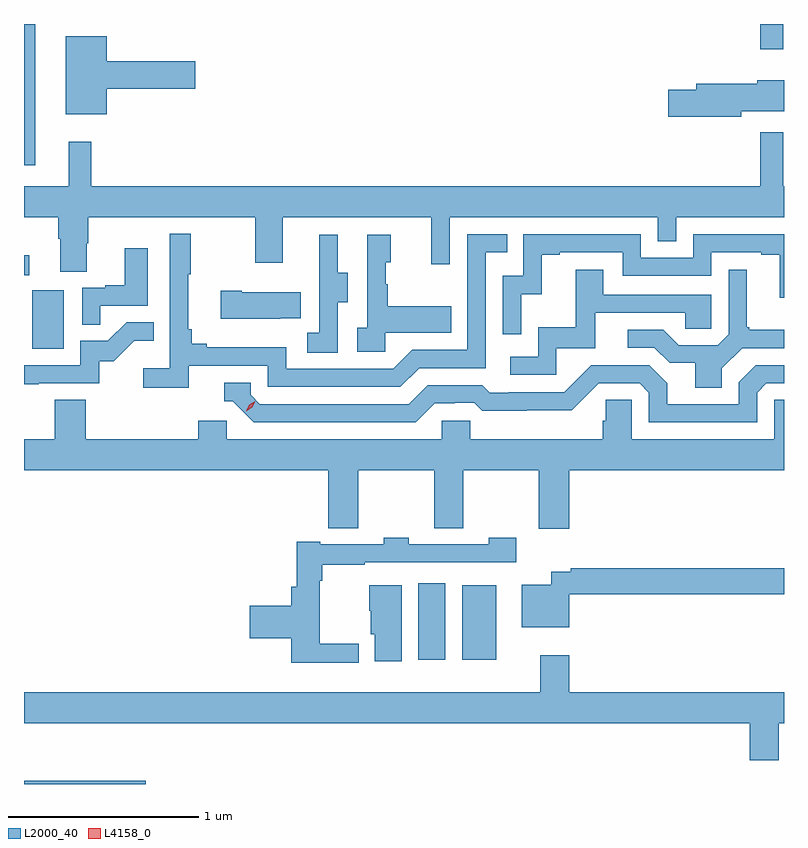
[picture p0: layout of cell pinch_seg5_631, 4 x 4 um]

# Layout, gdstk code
import gdstk
lib = gdstk.Library(unit=1e-6, precision=1e-09)
def R(c, l, rs):  # rectangles x0, y0, x1, y1
    for r in rs: c.add(gdstk.rectangle(r[:2], r[2:], *l))
def P(c, l, *ps):  # polygons
    for p in ps: c.add(gdstk.Polygon(p, *l))
L2000_40 = (2000, 40)
L4158_0 = (4158, 0)

pinch_seg5_631 = lib.new_cell('pinch_seg5_631')
R(pinch_seg5_631, L2000_40, [(1066.596,861.769,1067.236,861.787), (1068.671,862.424,1068.814,862.825), (1068.902,862.424,1069.081,862.816), (1066.64,864.06,1066.804,864.367), (1066.596,864.447,1066.624,864.553), (1066.596,865.026,1066.654,865.769), (1070.472,865.635,1070.593,865.769)])
P(pinch_seg5_631, L2000_40, [(1067.032,865.427),(1067.497,865.427),(1067.497,865.574),(1067.032,865.574),(1067.032,865.705),(1066.817,865.705),(1066.817,865.295),(1067.032,865.295)],
  [(1070.37,865.31),(1070.596,865.31),(1070.596,865.474),(1070.456,865.474),(1070.456,865.454),(1070.135,865.454),(1070.135,865.424),(1069.986,865.424),(1069.986,865.282),(1070.37,865.282)],
  [(1066.927,864.615),(1066.935,864.615),(1066.935,864.752),(1067.812,864.752),(1067.812,864.513),(1067.959,864.513),(1067.959,864.752),(1068.74,864.752),(1068.74,864.504),(1068.837,864.504),(1068.837,864.752),(1069.932,864.752),(1069.932,864.625),(1070.028,864.625),(1070.028,864.752),(1070.596,864.752),(1070.596,864.916),(1070.593,864.916),(1070.593,865.198),(1070.472,865.198),(1070.472,864.916),(1066.949,864.916),(1066.949,865.15),(1066.832,865.15),(1066.832,864.916),(1066.596,864.916),(1066.596,864.752),(1066.775,864.752),(1066.775,864.64),(1066.787,864.64),(1066.787,864.466),(1066.927,864.466)],
  [(1067.462,863.97),(1067.88,863.97),(1067.88,863.859),(1068.577,863.859),(1068.676,863.958),(1069.026,863.958),(1069.026,864.567),(1069.139,864.567),(1069.139,864.663),(1068.93,864.663),(1068.93,864.054),(1068.639,864.054),(1068.54,863.955),(1067.976,863.955),(1067.976,864.067),(1067.557,864.067),(1067.557,864.086),(1067.48,864.086),(1067.48,864.163),(1067.461,864.163),(1067.461,864.451),(1067.473,864.451),(1067.473,864.664),(1067.364,864.664),(1067.364,863.956),(1067.223,863.956),(1067.223,863.854),(1067.462,863.854)],
  [(1069.212,864.347),(1069.322,864.347),(1069.322,864.555),(1069.417,864.555),(1069.417,864.567),(1069.746,864.567),(1069.746,864.444),(1070.214,864.444),(1070.214,864.567),(1070.477,864.567),(1070.477,864.555),(1070.573,864.555),(1070.573,864.329),(1070.596,864.329),(1070.596,864.663),(1070.118,864.663),(1070.118,864.54),(1069.842,864.54),(1069.842,864.663),(1069.224,864.663),(1069.224,864.444),(1069.116,864.444),(1069.116,864.135),(1069.212,864.135)],
  [(1068.246,864.304),(1068.301,864.304),(1068.301,864.459),(1068.247,864.459),(1068.247,864.661),(1068.149,864.661),(1068.149,864.447),(1068.15,864.447),(1068.15,864.143),(1068.087,864.143),(1068.087,864.04),(1068.246,864.04)],
  [(1068.498,864.143),(1068.845,864.143),(1068.845,864.283),(1068.511,864.283),(1068.511,864.398),(1068.501,864.398),(1068.501,864.516),(1068.526,864.516),(1068.526,864.661),(1068.402,864.661),(1068.402,864.17),(1068.351,864.17),(1068.351,864.045),(1068.498,864.045)],
  [(1066.997,864.285),(1067.248,864.285),(1067.248,864.589),(1067.126,864.589),(1067.126,864.394),(1067.023,864.394),(1067.023,864.381),(1066.902,864.381),(1066.902,864.187),(1066.997,864.187)],
  [(1070.269,863.956),(1070.376,864.063),(1070.596,864.063),(1070.596,864.16),(1070.413,864.16),(1070.413,864.172),(1070.401,864.172),(1070.401,864.475),(1070.304,864.475),(1070.304,864.135),(1070.247,864.078),(1070.041,864.078),(1069.96,864.159),(1069.773,864.159),(1069.773,864.066),(1069.914,864.066),(1069.994,863.986),(1070.129,863.986),(1070.129,863.854),(1070.269,863.854)],
  [(1069.398,864.063),(1069.603,864.063),(1069.603,864.249),(1070.077,864.249),(1070.077,864.165),(1070.214,864.165),(1070.214,864.345),(1069.645,864.345),(1069.645,864.475),(1069.501,864.475),(1069.501,864.172),(1069.302,864.172),(1069.302,864.018),(1069.155,864.018),(1069.155,863.922),(1069.398,863.922)],
  [(1067.945,864.221),(1068.053,864.221),(1068.053,864.358),(1067.743,864.358),(1067.743,864.366),(1067.631,864.366),(1067.631,864.218),(1067.945,864.218)],
  [(1066.673,863.877),(1066.992,863.877),(1066.992,863.994),(1067.068,863.994),(1067.175,864.101),(1067.279,864.101),(1067.279,864.2),(1067.136,864.2),(1067.038,864.102),(1066.893,864.102),(1066.893,863.973),(1066.596,863.973),(1066.596,863.872),(1066.673,863.872)],
  [(1068.757,863.772),(1068.864,863.772),(1068.864,863.775),(1068.967,863.775),(1069.009,863.733),(1069.242,863.733),(1069.242,863.735),(1069.478,863.735),(1069.62,863.877),(1069.836,863.877),(1069.884,863.829),(1069.884,863.673),(1070.454,863.673),(1070.454,863.829),(1070.502,863.877),(1070.596,863.877),(1070.596,863.973),(1070.448,863.973),(1070.358,863.883),(1070.358,863.769),(1069.981,863.769),(1069.981,863.879),(1069.887,863.973),(1069.581,863.973),(1069.44,863.832),(1069.147,863.832),(1069.147,863.829),(1069.048,863.829),(1069.009,863.868),(1068.72,863.868),(1068.621,863.769),(1067.838,863.769),(1067.79,863.817),(1067.79,863.88),(1067.651,863.88),(1067.651,863.784),(1067.694,863.784),(1067.805,863.673),(1068.658,863.673)],
  [(1069.466,863.42),(1070.596,863.42),(1070.596,863.792),(1070.544,863.792),(1070.544,863.584),(1069.794,863.584),(1069.794,863.792),(1069.657,863.792),(1069.657,863.682),(1069.643,863.682),(1069.643,863.584),(1068.945,863.584),(1068.945,863.682),(1068.795,863.682),(1068.795,863.584),(1067.664,863.584),(1067.664,863.682),(1067.513,863.682),(1067.513,863.584),(1066.922,863.584),(1066.922,863.792),(1066.757,863.792),(1066.757,863.584),(1066.596,863.584),(1066.596,863.42),(1068.197,863.42),(1068.197,863.116),(1068.356,863.116),(1068.356,863.42),(1068.754,863.42),(1068.754,863.116),(1068.908,863.116),(1068.908,863.42),(1069.306,863.42),(1069.306,863.112),(1069.466,863.112)],
  [(1068.358,862.508),(1068.152,862.508),(1068.152,862.838),(1068.167,862.838),(1068.167,862.923),(1068.389,862.923),(1068.389,862.935),(1069.186,862.935),(1069.186,863.064),(1069.041,863.064),(1069.041,863.031),(1068.621,863.031),(1068.621,863.064),(1068.489,863.064),(1068.489,863.031),(1068.154,863.031),(1068.154,863.044),(1068.031,863.044),(1068.031,862.807),(1068.002,862.807),(1068.002,862.706),(1067.784,862.706),(1067.784,862.535),(1068.002,862.535),(1068.002,862.406),(1068.358,862.406)],
  [(1069.467,862.768),(1070.596,862.768),(1070.596,862.904),(1069.474,862.904),(1069.474,862.887),(1069.371,862.887),(1069.371,862.819),(1069.217,862.819),(1069.217,862.595),(1069.467,862.595)],
  [(1068.583,862.816),(1068.413,862.816),(1068.413,862.68),(1068.422,862.68),(1068.422,862.557),(1068.443,862.557),(1068.443,862.416),(1068.583,862.416)],
  [(1070.569,862.088),(1070.596,862.088),(1070.596,862.252),(1069.466,862.252),(1069.466,862.447),(1069.313,862.447),(1069.313,862.252),(1066.596,862.252),(1066.596,862.088),(1070.417,862.088),(1070.417,861.894),(1070.569,861.894)])
P(pinch_seg5_631, L4158_0, [(1067.766,863.732),(1067.766,863.732),(1067.782,863.764),(1067.813,863.784),(1067.814,863.784),(1067.814,863.783),(1067.797,863.751),(1067.766,863.732)])

lib.write_gds('pinch_seg5_631.gds')
